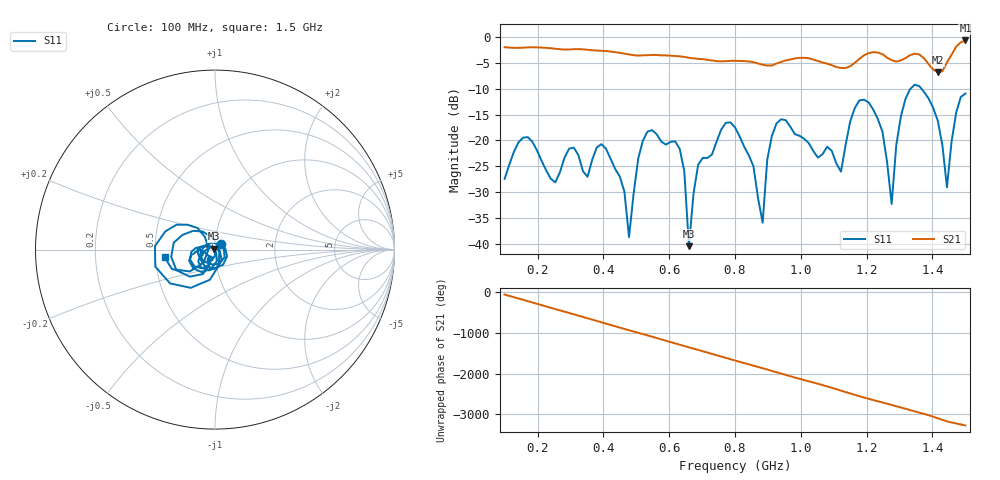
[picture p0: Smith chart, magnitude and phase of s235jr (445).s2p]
! NanoVNA-App
! Date: 2025-09-25 15:07:37
! Start: 100MHz Stop: 1,5GHz Points: 101
! S-Parameter data: F S11 S21 S12 S22
# Hz S RI R 50
!  Frequency  S11_Real  S11_Imag  S21_Real  S21_Imag  S12_Real  S12_Imag  S22_Real  S22_Imag
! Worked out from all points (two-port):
!   101 points, 100 MHz to 1.5 GHz, reference 50 ohm
!   highest |S21| = -0.66 dB at 1.5 GHz (marker M1); lowest = -6.8 dB at 1.416 GHz (marker M2)
!   |S21| within 3 dB of the highest: start of sweep to 615.3 MHz; 1.189 GHz to 1.255 GHz (65.77 MHz wide, 5.38 % of centre) (the widest 2 of 4)
!   lowest |S11| = -40.5 dB at 660 MHz (marker M3), VSWR 1.02, Z = 49.2 + j0.536 ohm
!   |S11| at or under -10 dB: start of sweep to 1.333 GHz; 1.366 GHz to end of sweep
!   S12 and S22 are empty: the file has one direction only
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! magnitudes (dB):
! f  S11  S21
! 100 MHz  -27.5  -2.0
! 170 MHz  -19.4  -2.0
! 338 MHz  -26.0  -2.4
! 408 MHz  -21.6  -2.7
! 478 MHz  -38.7  -3.4
! 520 MHz  -20.1  -3.5
! 576 MHz  -20.2  -3.5
! 632 MHz  -21.6  -3.7
! 660 MHz  -40.5  -4.0
! 688 MHz  -24.7  -4.2
! 800 MHz  -17.5  -4.6
! 884 MHz  -36.0  -5.4
! 926 MHz  -16.7  -5.1
! 1.038 GHz  -22.1  -4.4
! 1.122 GHz  -26.1  -6.0
! 1.206 GHz  -12.6  -3.1
! 1.248 GHz  -18.3  -3.3
! 1.276 GHz  -32.3  -4.5
! 1.332 GHz  -10.1  -3.5
! 1.416 GHz  -16.2  -6.8
! 1.444 GHz  -29.1  -4.9
! 1.5 GHz  -10.9  -0.7
